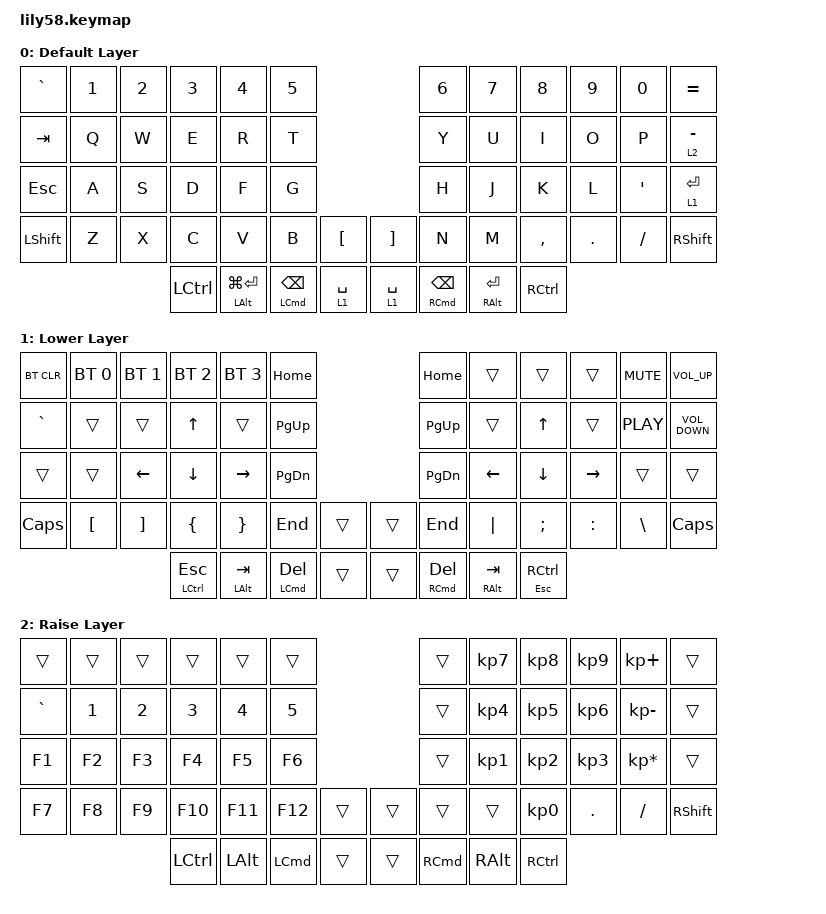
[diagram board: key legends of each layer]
/*
 * Copyright (c) 2020 The ZMK Contributors
 *
 * SPDX-License-Identifier: MIT
 */

#include <behaviors.dtsi>
#include <dt-bindings/zmk/keys.h>
#include <dt-bindings/zmk/bt.h>
#include <dt-bindings/zmk/ext_power.h>

/ {
    keymap {
        compatible = "zmk,keymap";

        default_layer {
            display-name = "Default Layer";

            // ------------------------------------------------------------------------------------------------------------
            // |  ESC  |  1  |  2  |  3   |  4   |  5   |                   |  6   |  7    |  8    |  9   |   0   |   `   |
            // |  TAB  |  Q  |  W  |  E   |  R   |  T   |                   |  Y   |  U    |  I    |  O   |   P   |   -   |
            // |  CTRL |  A  |  S  |  D   |  F   |  G   |                   |  H   |  J    |  K    |  L   |   ;   |   '   |
            // | SHIFT |  Z  |  X  |  C   |  V   |  B   |   "["  |  |  "]"  |  N   |  M    |  ,    |  .   |   /   | SHIFT |
            //                     | ALT  | GUI  | LOWER|  SPACE |  | ENTER | RAISE| BSPC  | GUI   |

            bindings = <
&kp GRAVE   &kp N1  &kp N2  &kp N3            &kp N4                &kp N5                                                  &kp N6                       &kp N7               &kp N8             &kp N9   &kp N0            &kp EQUAL
&kp TAB     &kp Q   &kp W   &kp E             &kp R                 &kp T                                                   &kp Y                        &kp U                &kp I              &kp O    &kp P             &lt 2 MINUS
&kp ESCAPE  &kp A   &kp S   &kp D             &kp F                 &kp G                                                   &kp H                        &kp J                &kp K              &kp L    &kp SINGLE_QUOTE  &lt 1 ENTER
&kp LSHFT   &kp Z   &kp X   &kp C             &kp V                 &kp B                       &kp LBKT       &kp RBKT     &kp N                        &kp M                &kp COMMA          &kp DOT  &kp FSLH          &kp RSHFT
                            &kp LEFT_CONTROL  &mt LEFT_ALT LG(RET)  &mt LEFT_COMMAND BACKSPACE  &lt 1 SPACE    &lt 1 SPACE  &mt RIGHT_COMMAND BACKSPACE  &mt RIGHT_ALT ENTER  &kp RIGHT_CONTROL
            >;
        };

        lower_layer {
            display-name = "Lower Layer";

            // ------------------------------------------------------------------------------------------------------------
            // | BTCLR | BT1 | BT2 |  BT3 |  BT4 |  BT5 |                   |      |       |       |      |       |       |
            // |  F1   |  F2 |  F3 |  F4  |  F5  |  F6  |                   |  F7  |  F8   |  F9   |  F10 |  F11  |  F12  |
            // |   `   |  !  |  @  |  #   |  $   |  %   |                   |  ^   |  &    |  *    |  (   |   )   |   ~   |
            // |       |     |     |      |      |      |        |  |       |      |  _    |  +    |  {   |   }   |  "|"  |
            //                     |      |      |      |        |  |       |      |       |       |

            bindings = <
&bt BT_CLR  &bt BT_SEL 0      &bt BT_SEL 1       &bt BT_SEL 2             &bt BT_SEL 3      &kp HOME                                   &kp HOME                  &trans             &trans                    &trans     &kp K_MUTE     &kp C_VOLUME_UP
&kp GRAVE   &trans            &trans             &kp UP_ARROW             &trans            &kp PAGE_UP                                &kp PAGE_UP               &trans             &kp UP_ARROW              &trans     &kp C_PLAY     &kp C_VOLUME_DOWN
&trans      &trans            &kp LEFT_ARROW     &kp DOWN_ARROW           &kp RIGHT_ARROW   &kp PAGE_DOWN                              &kp PAGE_DOWN             &kp LEFT           &kp DOWN                  &kp RIGHT  &trans         &trans
&kp CAPS    &kp LEFT_BRACKET  &kp RIGHT_BRACKET  &kp LEFT_BRACE           &kp RIGHT_BRACE   &kp END                  &trans    &trans  &kp END                   &kp PIPE           &kp SEMI                  &kp COLON  &kp BACKSLASH  &kp CAPS
                                                 &mt LEFT_CONTROL ESCAPE  &mt LEFT_ALT TAB  &mt LEFT_COMMAND DELETE  &trans    &trans  &mt RIGHT_COMMAND DELETE  &mt RIGHT_ALT TAB  &mt ESCAPE RIGHT_CONTROL
            >;
        };

        raise_layer {
            display-name = "Raise Layer";

            // ------------------------------------------------------------------------------------------------------------
            // |       |     |     |      |      |      |                   |      |       |       |      |       |       |
            // |   `   |  1  |  2  |  3   |  4   |  5   |                   |  6   |   7   |   8   |  9   |   0   |       |
            // |   F1  |  F2 |  F3 |  F4  |  F5  |  F6  |                   |      |   <-  |   v   |  ^   |  ->   |       |
            // |   F7  |  F8 |  F9 |  F10 |  F11 |  F12 |        |  |       |  +   |   -   |   =   |  [   |   ]   |   \   |
            //                     |      |      |      |        |  |       |      |       |       |

            bindings = <
&trans     &trans  &trans  &trans            &trans        &trans                              &trans             &kp KP_NUMBER_7  &kp KP_NUMBER_8    &kp KP_NUMBER_9  &kp KP_PLUS      &trans
&kp GRAVE  &kp N1  &kp N2  &kp N3            &kp N4        &kp N5                              &trans             &kp KP_NUMBER_4  &kp KP_NUMBER_5    &kp KP_NUMBER_6  &kp KP_SUBTRACT  &trans
&kp F1     &kp F2  &kp F3  &kp F4            &kp F5        &kp F6                              &trans             &kp KP_NUMBER_1  &kp KP_NUMBER_2    &kp KP_NUMBER_3  &kp KP_ASTERISK  &trans
&kp F7     &kp F8  &kp F9  &kp F10           &kp F11       &kp F12           &trans    &trans  &trans             &trans           &kp KP_NUMBER_0    &kp DOT          &kp SLASH        &kp RIGHT_SHIFT
                           &kp LEFT_CONTROL  &kp LEFT_ALT  &kp LEFT_COMMAND  &trans    &trans  &kp RIGHT_COMMAND  &kp RIGHT_ALT    &kp RIGHT_CONTROL
            >;
        };
    };
};
